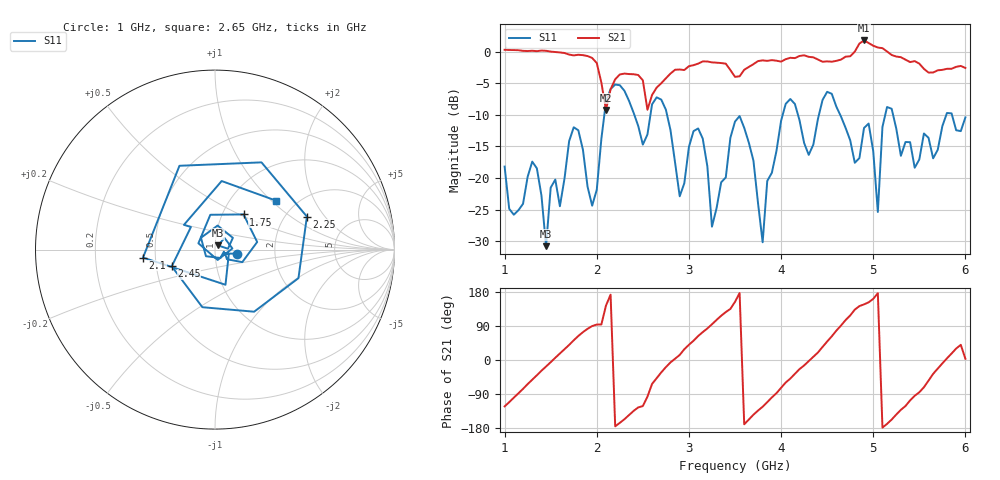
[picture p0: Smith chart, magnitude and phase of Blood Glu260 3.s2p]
! NanoVNA-App
! Date: 2024-03-21 02:24:13
! Start: 1GHz Stop: 6GHz Points: 101
! S-Parameter data: F S11 S21 S12 S22
# Hz S RI R 50
!	Frequency	S11_Real	S11_Imag	S21_Real	S21_Imag	S12_Real	S12_Imag	S22_Real	S22_Imag
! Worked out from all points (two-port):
!   101 points, 1 GHz to 6 GHz, reference 50 ohm
!   highest |S21| = 1.81 dB at 4.9 GHz (marker M1); lowest = -9.2 dB at 2.1 GHz (marker M2)
!   |S21| within 3 dB of the highest: start of sweep to 1.964 GHz; 4.654 GHz to 5.344 GHz (690.1 MHz wide, 13.8 % of centre)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
!   lowest |S11| = -30.8 dB at 1.45 GHz (marker M3), VSWR 1.06, Z = 51.7 + j2.39 ohm
!   |S11| at or under -10 dB: start of sweep to 2.082 GHz; 2.763 GHz to 4.017 GHz (1.255 GHz wide, 37 % of centre); 5.215 GHz to 5.793 GHz (577.1 MHz wide, 10.5 % of centre)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
!   S12 and S22 are empty: the file has one direction only
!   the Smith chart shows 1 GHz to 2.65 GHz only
!   S11 on the Smith chart (normalised r, x): 1 GHz: 1.27, -0.06; 1.75 GHz: 1.26, +0.53; 2.1 GHz: 0.43, -0.05; 2.25 GHz: 2.59, +1.35; 2.45 GHz: 0.60, -0.12; 2.65 GHz: 1.59, +1.07
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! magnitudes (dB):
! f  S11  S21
! 1 GHz  -18.2  0.3
! 1.35 GHz  -18.5  0.1
! 1.45 GHz  -30.8  0.2
! 1.75 GHz  -12.0  -0.6
! 1.85 GHz  -15.5  -0.5
! 1.95 GHz  -24.4  -1.0
! 2.1 GHz  -7.9  -9.2
! 2.25 GHz  -5.3  -3.6
! 2.45 GHz  -11.8  -3.7
! 2.65 GHz  -7.2  -5.7
! 2.7 GHz  -7.6  -5.0
! 2.9 GHz  -22.9  -2.8
! 3.15 GHz  -13.8  -1.5
! 3.25 GHz  -27.7  -1.7
! 3.5 GHz  -11.1  -4.0
! 3.8 GHz  -30.2  -1.3
! 4.05 GHz  -8.3  -1.2
! 4.35 GHz  -14.7  -0.9
! 4.9 GHz  -12.1  1.8
! 5.05 GHz  -25.4  0.7
! 5.2 GHz  -9.0  -0.5
! 6 GHz  -10.4  -2.6
